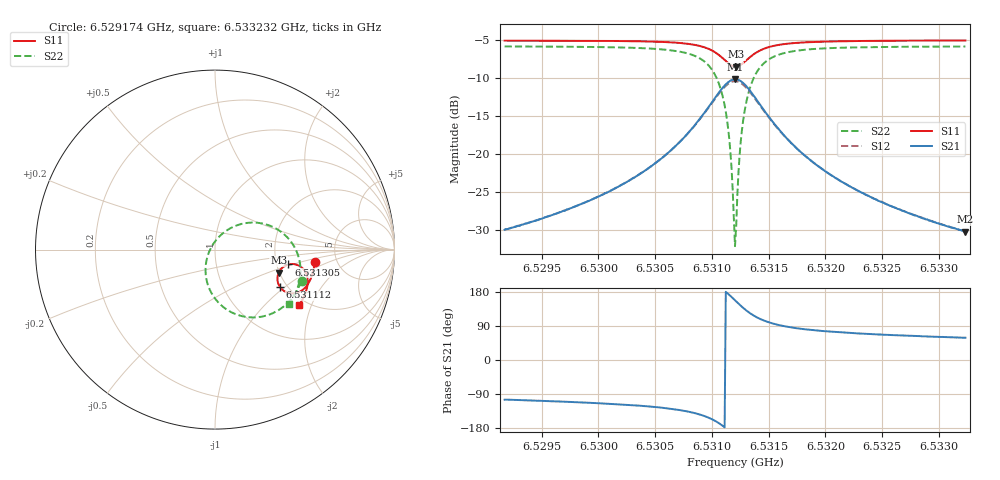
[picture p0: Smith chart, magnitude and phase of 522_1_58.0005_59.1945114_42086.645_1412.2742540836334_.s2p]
#  HZ  S  RI  R  50.00
! Rohde & Schwarz Vector Network Analyzer
! Rohde-Schwarz,ZNB20-2Port,1311601062101988,3.16
! Created: UTC 3/21/2024, 1:13:43 AM
! freq[Hz]  re:S11  im:S11  re:S21  im:S21  re:S12  im:S12  re:S22  im:S22
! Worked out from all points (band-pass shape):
!   401 points, 6.529174 GHz to 6.533232 GHz, reference 50 ohm
!   highest |S21| = -10.13 dB at 6.531203 GHz (marker M1); lowest = -30.3 dB at 6.533232 GHz (marker M2)
!   |S21| within 3 dB of the highest: 6.531002 GHz to 6.531407 GHz (405.6 kHz wide, 0.00621 % of centre)
!   lowest |S11| = -8.5 dB at 6.531213 GHz (marker M3), VSWR 2.21, Z = 99 - j29.9 ohm
!   |S11| at or under -10 dB: nowhere
!   |S22| runs from -32.2 to -5.8 dB; largest |S21 - S12| = 0.012
!   S11 on the Smith chart (normalised r, x): 6.529174 GHz: 3.39, -0.71; 6.531112 GHz: 1.83, -0.93; 6.531305 GHz: 2.32, -0.47; 6.533232 GHz: 1.82, -1.64
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6.5291737e9  0.5563 -0.0715  -0.00805 -0.0305  -0.00841 -0.0304  0.4825 -0.1758
6.5298536e9  0.5449 -0.1282  -0.0175 -0.0436  -0.0186 -0.043  0.4509 -0.2387
6.5302493e9  0.532 -0.1652  -0.0309 -0.0575  -0.0324 -0.0568  0.4161 -0.2853
6.5305334e9  0.5153 -0.196  -0.0522 -0.0742  -0.0542 -0.0728  0.3683 -0.3278
6.5307668e9  0.4874 -0.2253  -0.0928 -0.0934  -0.0954 -0.0903  0.2865 -0.3674
6.5309393e9  0.4429 -0.2436  -0.1617 -0.0992  -0.164 -0.0925  0.1593 -0.3728
6.5310407e9  0.3974 -0.2373  -0.2318 -0.0717  -0.2309 -0.0619  0.041 -0.3156
6.5311118e9  0.3625 -0.2088  -0.2833 -0.0116  -0.2772 -0.00178  -0.0361 -0.2064
6.5311524e9  0.3498 -0.1803  -0.2987 0.0421  -0.2896 0.0502  -0.0529 -0.1147
6.5311929e9  0.3494 -0.146  -0.2934 0.1035  -0.2823 0.1078  -0.0339 -0.0149
6.5312031e9  0.3515 -0.1376  -0.288 0.1187  -0.2769 0.1219  -0.0229 0.00902
6.5312132e9  0.3546 -0.1294  -0.2816 0.1331  -0.2703 0.1354  -0.00977 0.0314
6.5312234e9  0.3585 -0.1215  -0.2734 0.1466  -0.2624 0.1481  0.00565 0.0524
6.5312538e9  0.3745 -0.1016  -0.2427 0.1813  -0.2329 0.1801  0.0613 0.1043
6.5312741e9  0.3877 -0.0918  -0.2187 0.198  -0.2099 0.1958  0.1038 0.1278
6.5313046e9  0.4087 -0.0829  -0.181 0.2134  -0.1741 0.21  0.1684 0.1472
6.5313756e9  0.4526 -0.0835  -0.1041 0.2145  -0.1007 0.2113  0.2972 0.1363
6.5314771e9  0.4905 -0.1067  -0.0386 0.182  -0.037 0.1803  0.4038 0.0676
6.5316293e9  0.5118 -0.1436  0.000679 0.1343  0.00178 0.1336  0.462 -0.0292
6.5318829e9  0.5164 -0.1874  0.0171 0.0875  0.018 0.0872  0.4765 -0.1276
6.5325628e9  0.4971 -0.2579  0.0184 0.0417  0.0193 0.0416  0.4478 -0.2441
6.5332325e9  0.4708 -0.3081  0.0159 0.0263  0.0165 0.0259  0.4131 -0.3042
